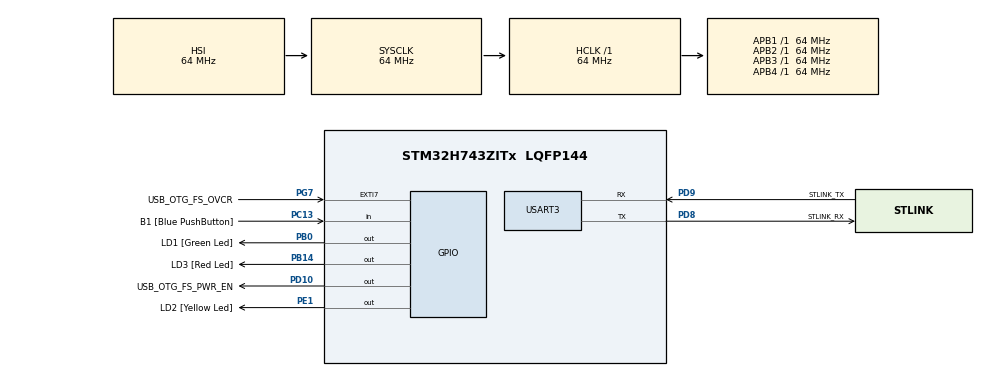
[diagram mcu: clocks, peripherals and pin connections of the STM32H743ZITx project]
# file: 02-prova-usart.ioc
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Mcu.Family=STM32H7
Mcu.Name=STM32H743ZITx
Mcu.Package=LQFP144
NVIC.PriorityGroup=NVIC_PRIORITYGROUP_4
NVIC.USART3_IRQn=true\:0\:0\:false\:false\:true\:true\:true\:true
PB0.GPIO_Label=LD1 [Green Led]
PB0.Signal=GPIO_Output
PB14.GPIO_Label=LD3 [Red Led]
PB14.Signal=GPIO_Output
PC13.GPIO_Label=B1 [Blue PushButton]
PC13.Signal=GPIO_Input
PC14-OSC32_IN\ (OSC32_IN).Mode=LSE-External-Oscillator
PC14-OSC32_IN\ (OSC32_IN).Signal=RCC_OSC32_IN
PC15-OSC32_OUT\ (OSC32_OUT).Mode=LSE-External-Oscillator
PC15-OSC32_OUT\ (OSC32_OUT).Signal=RCC_OSC32_OUT
PD10.GPIO_Label=USB_OTG_FS_PWR_EN
PD10.Signal=GPIO_Output
PD8.GPIO_Label=STLINK_RX
PD8.Mode=Asynchronous
PD8.Signal=USART3_TX
PD9.GPIO_Label=STLINK_TX
PD9.Mode=Asynchronous
PD9.Signal=USART3_RX
PE1.GPIO_Label=LD2 [Yellow Led]
PE1.Signal=GPIO_Output
PG7.GPIO_Label=USB_OTG_FS_OVCR
PG7.Signal=GPXTI7
PH0-OSC_IN\ (PH0).Mode=HSE-External-Clock-Source
PH0-OSC_IN\ (PH0).Signal=RCC_OSC_IN
ProjectManager.HeapSize=0x200
ProjectManager.StackSize=0x400
ProjectManager.TargetToolchain=STM32CubeIDE
RCC.ADCFreq_Value=16125000
RCC.APB1Freq_Value=64000000
RCC.APB2Freq_Value=64000000
RCC.APB3Freq_Value=64000000
RCC.APB4Freq_Value=64000000
RCC.CortexFreq_Value=64000000
RCC.DIVM1=1
RCC.DIVN1=24
RCC.DIVQ1=4
RCC.HCLKFreq_Value=64000000
RCC.HSE_VALUE=8000000
RCC.PLLFRACN=0
RCC.PLLSourceVirtual=RCC_PLLSOURCE_HSE
RCC.PWR_Regulator_Voltage_Scale=PWR_REGULATOR_VOLTAGE_SCALE2
RCC.SYSCLKFreq_VALUE=64000000
RCC.USBFreq_Value=48000000
USART3.VirtualMode-Asynchronous=VM_ASYNC
VP_MEMORYMAP_VS_MEMORYMAP.Mode=CurAppReg
board=NUCLEO-H743ZI2

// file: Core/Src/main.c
/* USER CODE BEGIN Header */
/**
 ******************************************************************************
 * @file           : main.c
 * @brief          : Main program body
 ******************************************************************************
 * @attention
 *
 * Copyright (c) 2024 STMicroelectronics.
 * All rights reserved.
 *
 * This software is licensed under terms that can be found in the LICENSE file
 * in the root directory of this software component.
 * If no LICENSE file comes with this software, it is provided AS-IS.
 *
 ******************************************************************************
 */
/* USER CODE END Header */
#include "main.h"

/* USER CODE BEGIN Includes */
#include "lz_serial.h"
/* USER CODE END Includes */

UART_HandleTypeDef huart3;

void SystemClock_Config(void);
static void MX_GPIO_Init(void);
static void MX_USART3_UART_Init(void);

/* USER CODE BEGIN 0 */

void lz_serial_setup(void)
{
	USART3->CR1 |= USART_CR1_TE | USART_CR1_TCIE; // Enable TX
	USART3->CR1 |= USART_CR1_RE | USART_CR1_RXNEIE; // Enable RX
	USART3->CR1 |= USART_CR1_UE; // Enable USART
}

void __lz_serial_error_tx_buffer_full(void)
{
	GPIOE->BSRR |= GPIO_BSRR_BS1;
}

void __lz_serial_error_rx_buffer_full(void)
{
	GPIOB->BSRR |= GPIO_BSRR_BS14;

	Error_Handler();
}

/* USER CODE END 0 */

int main(void)
{

  /* MCU Configuration--------------------------------------------------------*/

  /* Reset of all peripherals, Initializes the Flash interface and the Systick. */
  HAL_Init();

  /* Configure the system clock */
  SystemClock_Config();

  /* Initialize all configured peripherals */
  MX_GPIO_Init();
  MX_USART3_UART_Init();
  /* USER CODE BEGIN 2 */

	lz_serial_setup();

	char my_buff[256];
  /* USER CODE END 2 */

  /* Infinite loop */
	while (1) {

    /* USER CODE BEGIN 3 */

		lz_serial_println("Scrivi messaggio:");
		lz_serial_readln(my_buff, 256);

		lz_serial_print("Hai scritto: '");
		lz_serial_print(my_buff);
		lz_serial_println("'");
	}
  /* USER CODE END 3 */
}

void SystemClock_Config(void)
{
  RCC_OscInitTypeDef RCC_OscInitStruct = {0};
  RCC_ClkInitTypeDef RCC_ClkInitStruct = {0};

  /** Supply configuration update enable
  */
  HAL_PWREx_ConfigSupply(PWR_LDO_SUPPLY);

  /** Configure the main internal regulator output voltage
  */
  __HAL_PWR_VOLTAGESCALING_CONFIG(PWR_REGULATOR_VOLTAGE_SCALE2);

  while(!__HAL_PWR_GET_FLAG(PWR_FLAG_VOSRDY)) {}

  /** Initializes the RCC Oscillators according to the specified parameters
  * in the RCC_OscInitTypeDef structure.
  */
  RCC_OscInitStruct.OscillatorType = RCC_OSCILLATORTYPE_HSI;
  RCC_OscInitStruct.HSIState = RCC_HSI_DIV1;
  RCC_OscInitStruct.HSICalibrationValue = RCC_HSICALIBRATION_DEFAULT;
  RCC_OscInitStruct.PLL.PLLState = RCC_PLL_NONE;
  if (HAL_RCC_OscConfig(&RCC_OscInitStruct) != HAL_OK)
  {
    Error_Handler();
  }

  /** Initializes the CPU, AHB and APB buses clocks
  */
  RCC_ClkInitStruct.ClockType = RCC_CLOCKTYPE_HCLK|RCC_CLOCKTYPE_SYSCLK
                              |RCC_CLOCKTYPE_PCLK1|RCC_CLOCKTYPE_PCLK2
                              |RCC_CLOCKTYPE_D3PCLK1|RCC_CLOCKTYPE_D1PCLK1;
  RCC_ClkInitStruct.SYSCLKSource = RCC_SYSCLKSOURCE_HSI;
  RCC_ClkInitStruct.SYSCLKDivider = RCC_SYSCLK_DIV1;
  RCC_ClkInitStruct.AHBCLKDivider = RCC_HCLK_DIV1;
  RCC_ClkInitStruct.APB3CLKDivider = RCC_APB3_DIV1;
  RCC_ClkInitStruct.APB1CLKDivider = RCC_APB1_DIV1;
  RCC_ClkInitStruct.APB2CLKDivider = RCC_APB2_DIV1;
  RCC_ClkInitStruct.APB4CLKDivider = RCC_APB4_DIV1;

  if (HAL_RCC_ClockConfig(&RCC_ClkInitStruct, FLASH_LATENCY_1) != HAL_OK)
  {
    Error_Handler();
  }
}

static void MX_USART3_UART_Init(void)
{

  huart3.Instance = USART3;
  huart3.Init.BaudRate = 115200;
  huart3.Init.WordLength = UART_WORDLENGTH_8B;
  huart3.Init.StopBits = UART_STOPBITS_1;
  huart3.Init.Parity = UART_PARITY_NONE;
  huart3.Init.Mode = UART_MODE_TX_RX;
  huart3.Init.HwFlowCtl = UART_HWCONTROL_NONE;
  huart3.Init.OverSampling = UART_OVERSAMPLING_16;
  huart3.Init.OneBitSampling = UART_ONE_BIT_SAMPLE_DISABLE;
  huart3.Init.ClockPrescaler = UART_PRESCALER_DIV1;
  huart3.AdvancedInit.AdvFeatureInit = UART_ADVFEATURE_NO_INIT;
  if (HAL_UART_Init(&huart3) != HAL_OK)
  {
    Error_Handler();
  }
  if (HAL_UARTEx_SetTxFifoThreshold(&huart3, UART_TXFIFO_THRESHOLD_1_8) != HAL_OK)
  {
    Error_Handler();
  }
  if (HAL_UARTEx_SetRxFifoThreshold(&huart3, UART_RXFIFO_THRESHOLD_1_8) != HAL_OK)
  {
    Error_Handler();
  }
  if (HAL_UARTEx_DisableFifoMode(&huart3) != HAL_OK)
  {
    Error_Handler();
  }

}

static void MX_GPIO_Init(void)
{
  GPIO_InitTypeDef GPIO_InitStruct = {0};

  /* GPIO Ports Clock Enable */
  __HAL_RCC_GPIOC_CLK_ENABLE();
  __HAL_RCC_GPIOH_CLK_ENABLE();
  __HAL_RCC_GPIOB_CLK_ENABLE();
  __HAL_RCC_GPIOD_CLK_ENABLE();
  __HAL_RCC_GPIOG_CLK_ENABLE();
  __HAL_RCC_GPIOE_CLK_ENABLE();

  /*Configure GPIO pin Output Level */
  HAL_GPIO_WritePin(GPIOB, LD1_Pin|LD3_Pin, GPIO_PIN_RESET);

  /*Configure GPIO pin Output Level */
  HAL_GPIO_WritePin(USB_OTG_FS_PWR_EN_GPIO_Port, USB_OTG_FS_PWR_EN_Pin, GPIO_PIN_RESET);

  /*Configure GPIO pin Output Level */
  HAL_GPIO_WritePin(LD2_GPIO_Port, LD2_Pin, GPIO_PIN_RESET);

  /*Configure GPIO pin : B1_Pin */
  GPIO_InitStruct.Pin = B1_Pin;
  GPIO_InitStruct.Mode = GPIO_MODE_INPUT;
  GPIO_InitStruct.Pull = GPIO_NOPULL;
  HAL_GPIO_Init(B1_GPIO_Port, &GPIO_InitStruct);

  /*Configure GPIO pins : LD1_Pin LD3_Pin */
  GPIO_InitStruct.Pin = LD1_Pin|LD3_Pin;
  GPIO_InitStruct.Mode = GPIO_MODE_OUTPUT_PP;
  GPIO_InitStruct.Pull = GPIO_NOPULL;
  GPIO_InitStruct.Speed = GPIO_SPEED_FREQ_LOW;
  HAL_GPIO_Init(GPIOB, &GPIO_InitStruct);

  /*Configure GPIO pin : USB_OTG_FS_PWR_EN_Pin */
  GPIO_InitStruct.Pin = USB_OTG_FS_PWR_EN_Pin;
  GPIO_InitStruct.Mode = GPIO_MODE_OUTPUT_PP;
  GPIO_InitStruct.Pull = GPIO_NOPULL;
  GPIO_InitStruct.Speed = GPIO_SPEED_FREQ_LOW;
  HAL_GPIO_Init(USB_OTG_FS_PWR_EN_GPIO_Port, &GPIO_InitStruct);

  /*Configure GPIO pin : USB_OTG_FS_OVCR_Pin */
  GPIO_InitStruct.Pin = USB_OTG_FS_OVCR_Pin;
  GPIO_InitStruct.Mode = GPIO_MODE_IT_RISING;
  GPIO_InitStruct.Pull = GPIO_NOPULL;
  HAL_GPIO_Init(USB_OTG_FS_OVCR_GPIO_Port, &GPIO_InitStruct);

  /*Configure GPIO pin : LD2_Pin */
  GPIO_InitStruct.Pin = LD2_Pin;
  GPIO_InitStruct.Mode = GPIO_MODE_OUTPUT_PP;
  GPIO_InitStruct.Pull = GPIO_NOPULL;
  GPIO_InitStruct.Speed = GPIO_SPEED_FREQ_LOW;
  HAL_GPIO_Init(LD2_GPIO_Port, &GPIO_InitStruct);

}

void Error_Handler(void)
{
	__disable_irq();
	while (1) {
	}
}
